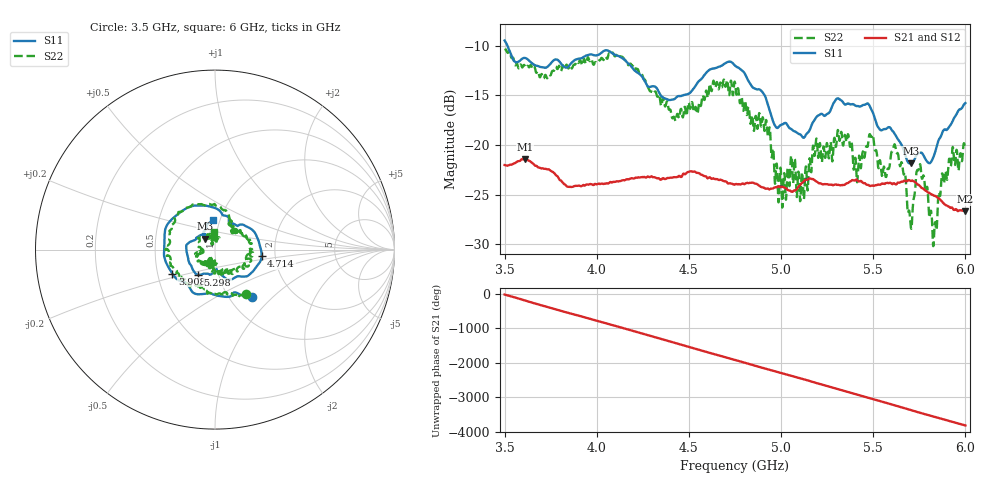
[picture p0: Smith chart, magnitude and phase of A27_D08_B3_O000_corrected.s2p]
! Created with skrf 1.9.0 (http://scikit-rf.org).
# Hz S RI R 50.0
!freq ReS11 ImS11 ReS21 ImS21 ReS12 ImS12 ReS22 ImS22
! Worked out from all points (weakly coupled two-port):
!   1601 points, 3.5 GHz to 6 GHz, reference 50 ohm
!   highest |S21| = -21.40 dB at 3.611 GHz (marker M1); lowest = -26.7 dB at 6 GHz (marker M2)
!   lowest |S11| = -21.9 dB at 5.703 GHz (marker M3), VSWR 1.18, Z = 44.6 + j5.42 ohm
!   |S11| at or under -10 dB: 3.515 GHz to end of sweep
!   |S22| runs from -30.2 to -10.4 dB; largest |S21 - S12| = 0.001
!   S11 on the Smith chart (normalised r, x): 3.5 GHz: 1.26, -0.76; 3.908 GHz: 0.60, -0.17; 4.714 GHz: 1.70, -0.13; 5.298 GHz: 0.80, -0.23; 6 GHz: 0.93, +0.31
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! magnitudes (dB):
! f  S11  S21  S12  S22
! 3.5 GHz  -9.5  -22.0  -22.0  -10.5
! 3.611 GHz  -11.2  -21.4  -21.4  -12.1
! 3.908 GHz  -11.3  -24.1  -24.1  -11.5
! 3.917 GHz  -11.3  -24.2  -24.1  -11.8
! 4.136 GHz  -11.2  -23.6  -23.6  -11.1
! 4.334 GHz  -14.6  -23.3  -23.3  -14.9
! 4.42 GHz  -15.4  -23.2  -23.2  -17.2
! 4.714 GHz  -11.6  -23.9  -23.9  -14.4
! 4.75 GHz  -12.0  -24.0  -23.9  -13.7
! 4.928 GHz  -15.9  -24.4  -24.4  -19.2
! 4.997 GHz  -18.0  -24.2  -24.2  -22.3
! 5.167 GHz  -17.9  -23.4  -23.4  -21.8
! 5.298 GHz  -15.4  -24.0  -24.0  -20.2
! 5.406 GHz  -16.1  -23.5  -23.4  -22.0
! 5.489 GHz  -16.4  -24.1  -24.1  -19.2
! 5.584 GHz  -18.2  -23.8  -23.8  -22.4
! 5.625 GHz  -19.1  -24.0  -23.9  -20.7
! 5.703 GHz  -21.9  -23.6  -23.6  -28.0
! 5.748 GHz  -20.8  -24.1  -24.0  -22.4
! 5.833 GHz  -20.9  -25.1  -25.1  -28.1
! 5.881 GHz  -18.5  -25.9  -25.8  -23.8
! 6 GHz  -15.8  -26.7  -26.6  -20.3
